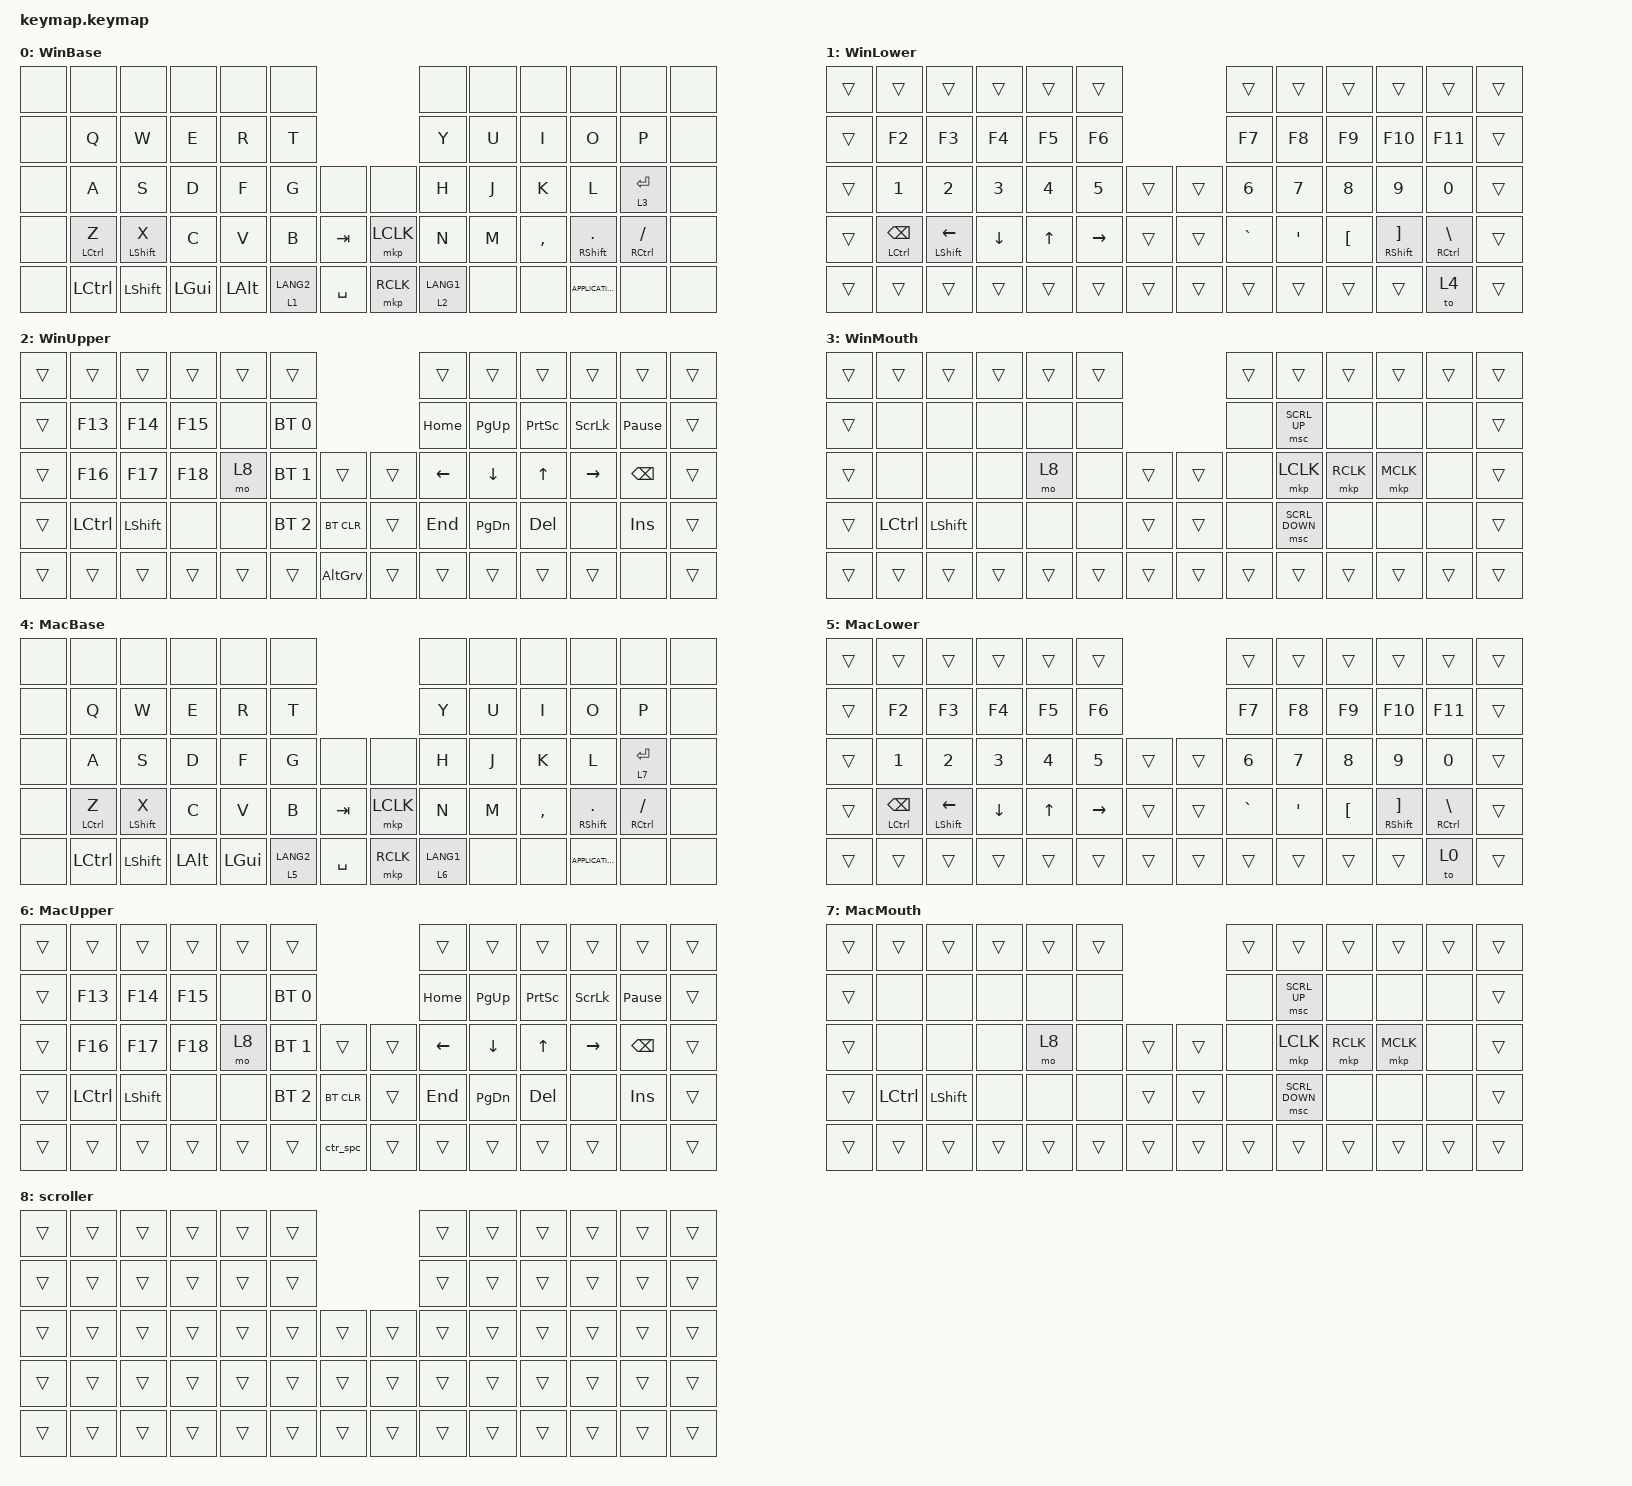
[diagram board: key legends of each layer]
#include <behaviors.dtsi>
#include <dt-bindings/zmk/bt.h>
#include <dt-bindings/zmk/keys.h>
#include <dt-bindings/zmk/pointing.h>

/ {
    combos {
        compatible = "zmk,combos";

        esc {
            bindings = <&kp ESCAPE>;
            key-positions = <13 14>;
            layers = <0 4>;
        };

        tab {
            bindings = <&kp TAB>;
            key-positions = <26 27>;
            layers = <0 4>;
        };

        minus {
            bindings = <&kp MINUS>;
            key-positions = <21 22>;
            layers = <0 4>;
        };

        f1 {
            bindings = <&kp F1>;
            key-positions = <13 14>;
            layers = <1 5>;
        };

        f12 {
            bindings = <&kp F12>;
            key-positions = <21 22>;
            layers = <1 5>;
        };

        equal {
            bindings = <&kp EQUAL>;
            key-positions = <35 36>;
            layers = <1 5>;
        };

        semicolon {
            bindings = <&kp SEMICOLON>;
            key-positions = <35 36>;
            layers = <0 4>;
        };
    };

    behaviors {
        mt200: mt200 {
            compatible = "zmk,behavior-hold-tap";
            label = "MT200";
            bindings = <&kp>, <&kp>;

            #binding-cells = <2>;
            tapping-term-ms = <200>;
            flavor = "balanced";
        };

        lt100: lt100 {
            compatible = "zmk,behavior-hold-tap";
            label = "LT100";
            bindings = <&mo>, <&kp>;

            #binding-cells = <2>;
            tapping-term-ms = <100>;
            flavor = "balanced";
        };

        lt200hp: lt200hp {
            compatible = "zmk,behavior-hold-tap";
            label = "LT200HP";
            bindings = <&mo>, <&kp>;

            #binding-cells = <2>;
            tapping-term-ms = <200>;
            flavor = "hold-preferred";
        };
    };

    macros {
        AltGrv: AltGrv {
            compatible = "zmk,behavior-macro";
            #binding-cells = <0>;
            bindings =
                <&macro_press>,
                <&kp LEFT_ALT>,
                <&macro_tap>,
                <&kp GRAVE>,
                <&macro_pause_for_release>,
                <&macro_release>,
                <&kp LEFT_ALT>;

            label = "ALTGRV";
        };

        ctr_spc: ctr_spc {
            compatible = "zmk,behavior-macro";
            #binding-cells = <0>;
            bindings =
                <&macro_press>,
                <&kp LCTRL>,
                <&macro_tap>,
                <&kp SPACE>,
                <&macro_pause_for_release>,
                <&macro_release>,
                <&kp LCTRL>;

            label = "CTR_SPC";
        };
    };

    keymap {
        compatible = "zmk,keymap";

        WinBase {
            bindings = <
&none  &none                  &none                &none         &none         &none                                 &none           &none  &none      &none                   &none                       &none
&none  &kp Q                  &kp W                &kp E         &kp R         &kp T                                 &kp Y           &kp U  &kp I      &kp O                   &kp P                       &none
&none  &kp A                  &kp S                &kp D         &kp F         &kp G           &none      &none      &kp H           &kp J  &kp K      &kp L                   &lt200hp 3 ENTER            &none
&none  &mt200 LEFT_CONTROL Z  &mt200 LEFT_SHIFT X  &kp C         &kp V         &kp B           &kp TAB    &mkp LCLK  &kp N           &kp M  &kp COMMA  &mt200 RIGHT_SHIFT DOT  &mt200 RIGHT_CONTROL SLASH  &none
&none  &kp LCTRL              &kp LEFT_SHIFT       &kp LEFT_GUI  &kp LEFT_ALT  &lt100 1 LANG2  &kp SPACE  &mkp RCLK  &lt100 2 LANG1  &none  &none      &kp K_APPLICATION       &none                       &none
            >;
        };

        WinLower {
            bindings = <
&trans  &trans                         &trans                  &trans        &trans        &trans                     &trans        &trans   &trans            &trans                            &trans                          &trans
&trans  &kp F2                         &kp F3                  &kp F4        &kp F5        &kp F6                     &kp F7        &kp F8   &kp F9            &kp F10                           &kp F11                         &trans
&trans  &kp NUMBER_1                   &kp NUMBER_2            &kp NUMBER_3  &kp NUMBER_4  &kp N5     &trans  &trans  &kp NUMBER_6  &kp N7   &kp N8            &kp N9                            &kp N0                          &trans
&trans  &mt200 LEFT_CONTROL BACKSPACE  &mt200 LEFT_SHIFT LEFT  &kp DOWN      &kp UP_ARROW  &kp RIGHT  &trans  &trans  &kp GRAVE     &kp SQT  &kp LEFT_BRACKET  &mt200 RIGHT_SHIFT RIGHT_BRACKET  &mt200 RIGHT_CONTROL BACKSLASH  &trans
&trans  &trans                         &trans                  &trans        &trans        &trans     &trans  &trans  &trans        &trans   &trans            &trans                            &to 4                           &trans
            >;
        };

        WinUpper {
            bindings = <
&trans  &trans     &trans          &trans   &trans  &trans                            &trans    &trans          &trans           &trans          &trans           &trans
&trans  &kp F13    &kp F14         &kp F15  &none   &bt BT_SEL 0                      &kp HOME  &kp PAGE_UP     &kp PRINTSCREEN  &kp SCROLLLOCK  &kp PAUSE_BREAK  &trans
&trans  &kp F16    &kp F17         &kp F18  &mo 8   &bt BT_SEL 1  &trans      &trans  &kp LEFT  &kp DOWN_ARROW  &kp UP_ARROW     &kp RIGHT       &kp BACKSPACE    &trans
&trans  &kp LCTRL  &kp LEFT_SHIFT  &none    &none   &bt BT_SEL 2  &bt BT_CLR  &trans  &kp END   &kp PAGE_DOWN   &kp DELETE       &none           &kp INS          &trans
&trans  &trans     &trans          &trans   &trans  &trans        &AltGrv     &trans  &trans    &trans          &trans           &trans          &none            &trans
            >;
        };

        WinMouth {
            bindings = <
&trans  &trans     &trans          &trans  &trans  &trans                  &trans  &trans          &trans     &trans     &trans  &trans
&trans  &none      &none           &none   &none   &none                   &none   &msc SCRL_UP    &none      &none      &none   &trans
&trans  &none      &none           &none   &mo 8   &none   &trans  &trans  &none   &mkp LCLK       &mkp RCLK  &mkp MCLK  &none   &trans
&trans  &kp LCTRL  &kp LEFT_SHIFT  &none   &none   &none   &trans  &trans  &none   &msc SCRL_DOWN  &none      &none      &none   &trans
&trans  &trans     &trans          &trans  &trans  &trans  &trans  &trans  &trans  &trans          &trans     &trans     &trans  &trans
            >;
        };

        MacBase {
            bindings = <
&none  &none                  &none                &none     &none     &none                                 &none           &none  &none      &none                   &none                       &none
&none  &kp Q                  &kp W                &kp E     &kp R     &kp T                                 &kp Y           &kp U  &kp I      &kp O                   &kp P                       &none
&none  &kp A                  &kp S                &kp D     &kp F     &kp G           &none      &none      &kp H           &kp J  &kp K      &kp L                   &lt200hp 7 ENTER            &none
&none  &mt200 LEFT_CONTROL Z  &mt200 LEFT_SHIFT X  &kp C     &kp V     &kp B           &kp TAB    &mkp LCLK  &kp N           &kp M  &kp COMMA  &mt200 RIGHT_SHIFT DOT  &mt200 RIGHT_CONTROL SLASH  &none
&none  &kp LCTRL              &kp LEFT_SHIFT       &kp LALT  &kp LGUI  &lt100 5 LANG2  &kp SPACE  &mkp RCLK  &lt100 6 LANG1  &none  &none      &kp K_APPLICATION       &none                       &none
            >;
        };

        MacLower {
            bindings = <
&trans  &trans                         &trans                  &trans        &trans        &trans                     &trans        &trans   &trans            &trans                            &trans                          &trans
&trans  &kp F2                         &kp F3                  &kp F4        &kp F5        &kp F6                     &kp F7        &kp F8   &kp F9            &kp F10                           &kp F11                         &trans
&trans  &kp NUMBER_1                   &kp NUMBER_2            &kp NUMBER_3  &kp NUMBER_4  &kp N5     &trans  &trans  &kp NUMBER_6  &kp N7   &kp N8            &kp N9                            &kp N0                          &trans
&trans  &mt200 LEFT_CONTROL BACKSPACE  &mt200 LEFT_SHIFT LEFT  &kp DOWN      &kp UP_ARROW  &kp RIGHT  &trans  &trans  &kp GRAVE     &kp SQT  &kp LEFT_BRACKET  &mt200 RIGHT_SHIFT RIGHT_BRACKET  &mt200 RIGHT_CONTROL BACKSLASH  &trans
&trans  &trans                         &trans                  &trans        &trans        &trans     &trans  &trans  &trans        &trans   &trans            &trans                            &to 0                           &trans
            >;
        };

        MacUpper {
            bindings = <
&trans  &trans     &trans          &trans   &trans  &trans                            &trans    &trans          &trans           &trans          &trans           &trans
&trans  &kp F13    &kp F14         &kp F15  &none   &bt BT_SEL 0                      &kp HOME  &kp PAGE_UP     &kp PRINTSCREEN  &kp SCROLLLOCK  &kp PAUSE_BREAK  &trans
&trans  &kp F16    &kp F17         &kp F18  &mo 8   &bt BT_SEL 1  &trans      &trans  &kp LEFT  &kp DOWN_ARROW  &kp UP_ARROW     &kp RIGHT       &kp BACKSPACE    &trans
&trans  &kp LCTRL  &kp LEFT_SHIFT  &none    &none   &bt BT_SEL 2  &bt BT_CLR  &trans  &kp END   &kp PAGE_DOWN   &kp DELETE       &none           &kp INS          &trans
&trans  &trans     &trans          &trans   &trans  &trans        &ctr_spc    &trans  &trans    &trans          &trans           &trans          &none            &trans
            >;
        };

        MacMouth {
            bindings = <
&trans  &trans     &trans          &trans  &trans  &trans                  &trans  &trans          &trans     &trans     &trans  &trans
&trans  &none      &none           &none   &none   &none                   &none   &msc SCRL_UP    &none      &none      &none   &trans
&trans  &none      &none           &none   &mo 8   &none   &trans  &trans  &none   &mkp LCLK       &mkp RCLK  &mkp MCLK  &none   &trans
&trans  &kp LCTRL  &kp LEFT_SHIFT  &none   &none   &none   &trans  &trans  &none   &msc SCRL_DOWN  &none      &none      &none   &trans
&trans  &trans     &trans          &trans  &trans  &trans  &trans  &trans  &trans  &trans          &trans     &trans     &trans  &trans
            >;
        };

        scroller {
            bindings = <
&trans  &trans  &trans  &trans  &trans  &trans                  &trans  &trans  &trans  &trans  &trans  &trans
&trans  &trans  &trans  &trans  &trans  &trans                  &trans  &trans  &trans  &trans  &trans  &trans
&trans  &trans  &trans  &trans  &trans  &trans  &trans  &trans  &trans  &trans  &trans  &trans  &trans  &trans
&trans  &trans  &trans  &trans  &trans  &trans  &trans  &trans  &trans  &trans  &trans  &trans  &trans  &trans
&trans  &trans  &trans  &trans  &trans  &trans  &trans  &trans  &trans  &trans  &trans  &trans  &trans  &trans
            >;
        };
    };
};
